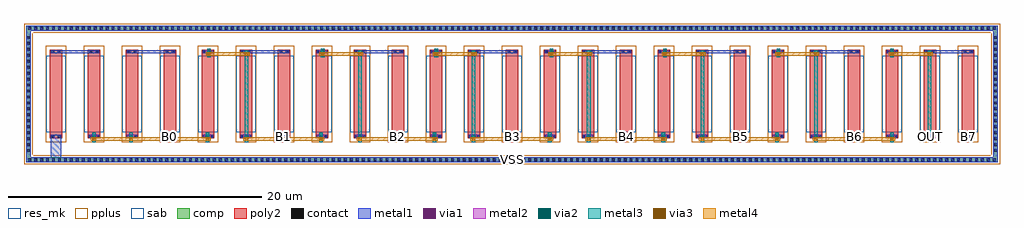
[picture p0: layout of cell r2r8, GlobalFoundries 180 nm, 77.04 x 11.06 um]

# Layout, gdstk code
import gdstk
lib = gdstk.Library(unit=1e-6, precision=1e-09)
def R(c, l, rs):  # rectangles x0, y0, x1, y1
    for r in rs: c.add(gdstk.rectangle(r[:2], r[2:], *l))
def A(c, l, x, y, w, h, nx, ny, dx, dy):  # array of equal rectangles
    R(c, l, [(x+i*dx, y+j*dy, x+i*dx+w, y+j*dy+h) for i in range(nx) for j in range(ny)])
comp = (22, 0)
poly2 = (30, 0)
pplus = (31, 0)
contact = (33, 0)
metal1 = (34, 0)
via1 = (35, 0)
metal2 = (36, 0)
via2 = (38, 0)
via3 = (40, 0)
metal3 = (42, 0)
metal4 = (46, 0)
sab = (49, 0)
res_mk = (110, 5)

r2r8 = lib.new_cell('r2r8')
R(r2r8, comp, [(-1.86,-2.37,74.86,-2.01), (-1.86,-2.01,-1.5,8.01), (74.5,-2.01,74.86,8.01), (-1.86,8.01,74.86,8.37)])
A(r2r8, poly2, 0, -0.51, 1, 7.02, 25, 1, 3, 0)
A(r2r8, pplus, -0.3, -0.81, 1.6, 7.62, 25, 1, 3, 0)
R(r2r8, pplus, [(-2.02,-2.53,75.02,-1.85), (-2.02,-2.17,-1.34,8.17), (74.34,-2.17,75.02,8.17), (-2.02,7.85,75.02,8.53)])
A(r2r8, contact, -1.68, -2.3, 0.22, 0.22, 163, 2, 0.47, 10.38)
A(r2r8, contact, -1.79, -1.575, 0.22, 0.22, 1, 20, 0, 0.47)
A(r2r8, contact, 74.57, -1.575, 0.22, 0.22, 1, 20, 0, 0.47)
R(r2r8, contact, [(0.155,-0.44,0.375,-0.22), (0.625,-0.44,0.845,-0.22), (3.155,-0.44,3.375,-0.22), (3.625,-0.44,3.845,-0.22), (6.155,-0.44,6.375,-0.22), (6.625,-0.44,6.845,-0.22), (9.155,-0.44,9.375,-0.22), (9.625,-0.44,9.845,-0.22), (12.155,-0.44,12.375,-0.22), (12.625,-0.44,12.845,-0.22), (15.155,-0.44,15.375,-0.22), (15.625,-0.44,15.845,-0.22), (18.155,-0.44,18.375,-0.22), (18.625,-0.44,18.845,-0.22), (21.155,-0.44,21.375,-0.22), (21.625,-0.44,21.845,-0.22), (24.155,-0.44,24.375,-0.22), (24.625,-0.44,24.845,-0.22), (27.155,-0.44,27.375,-0.22), (27.625,-0.44,27.845,-0.22), (30.155,-0.44,30.375,-0.22), (30.625,-0.44,30.845,-0.22), (33.155,-0.44,33.375,-0.22), (33.625,-0.44,33.845,-0.22), (36.155,-0.44,36.375,-0.22), (36.625,-0.44,36.845,-0.22), (39.155,-0.44,39.375,-0.22), (39.625,-0.44,39.845,-0.22), (42.155,-0.44,42.375,-0.22), (42.625,-0.44,42.845,-0.22), (45.155,-0.44,45.375,-0.22), (45.625,-0.44,45.845,-0.22), (48.155,-0.44,48.375,-0.22), (48.625,-0.44,48.845,-0.22), (51.155,-0.44,51.375,-0.22), (51.625,-0.44,51.845,-0.22), (54.155,-0.44,54.375,-0.22), (54.625,-0.44,54.845,-0.22), (57.155,-0.44,57.375,-0.22), (57.625,-0.44,57.845,-0.22), (60.155,-0.44,60.375,-0.22), (60.625,-0.44,60.845,-0.22), (63.155,-0.44,63.375,-0.22), (63.625,-0.44,63.845,-0.22), (66.155,-0.44,66.375,-0.22), (66.625,-0.44,66.845,-0.22), (69.155,-0.44,69.375,-0.22), (69.625,-0.44,69.845,-0.22), (72.155,-0.44,72.375,-0.22), (72.625,-0.44,72.845,-0.22), (0.155,6.22,0.375,6.44), (0.625,6.22,0.845,6.44), (3.155,6.22,3.375,6.44), (3.625,6.22,3.845,6.44), (6.155,6.22,6.375,6.44), (6.625,6.22,6.845,6.44), (9.155,6.22,9.375,6.44), (9.625,6.22,9.845,6.44), (12.155,6.22,12.375,6.44), (12.625,6.22,12.845,6.44), (15.155,6.22,15.375,6.44), (15.625,6.22,15.845,6.44), (18.155,6.22,18.375,6.44), (18.625,6.22,18.845,6.44), (21.155,6.22,21.375,6.44), (21.625,6.22,21.845,6.44), (24.155,6.22,24.375,6.44), (24.625,6.22,24.845,6.44), (27.155,6.22,27.375,6.44), (27.625,6.22,27.845,6.44), (30.155,6.22,30.375,6.44), (30.625,6.22,30.845,6.44), (33.155,6.22,33.375,6.44), (33.625,6.22,33.845,6.44), (36.155,6.22,36.375,6.44), (36.625,6.22,36.845,6.44), (39.155,6.22,39.375,6.44), (39.625,6.22,39.845,6.44), (42.155,6.22,42.375,6.44), (42.625,6.22,42.845,6.44), (45.155,6.22,45.375,6.44), (45.625,6.22,45.845,6.44), (48.155,6.22,48.375,6.44), (48.625,6.22,48.845,6.44), (51.155,6.22,51.375,6.44), (51.625,6.22,51.845,6.44), (54.155,6.22,54.375,6.44), (54.625,6.22,54.845,6.44), (57.155,6.22,57.375,6.44), (57.625,6.22,57.845,6.44), (60.155,6.22,60.375,6.44), (60.625,6.22,60.845,6.44), (63.155,6.22,63.375,6.44), (63.625,6.22,63.845,6.44), (66.155,6.22,66.375,6.44), (66.625,6.22,66.845,6.44), (69.155,6.22,69.375,6.44), (69.625,6.22,69.845,6.44), (72.155,6.22,72.375,6.44), (72.625,6.22,72.845,6.44)])
A(r2r8, metal1, 0.095, -0.445, 0.81, 0.23, 25, 2, 3, 6.66)
A(r2r8, metal1, 12.32, 6.2, 0.56, 0.26, 3, 1, 8.96, 0)
A(r2r8, metal1, 39.34, 6.2, 0.56, 0.26, 4, 1, 8.96, 0)
A(r2r8, metal1, 6.095, 6.215, 3.81, 0.23, 8, 1, 9, 0)
R(r2r8, metal1, [(-1.86,-2.37,74.86,-2.01), (0.095,-2.37,0.905,-0.445), (-1.86,-2.01,-1.5,8.01), (74.5,-2.01,74.86,8.01), (3.22,-0.46,3.78,-0.2), (6.16,-0.46,6.72,-0.2), (12.18,-0.46,12.74,-0.2), (15.26,-0.46,15.82,-0.2), (21.14,-0.46,21.7,-0.2), (24.22,-0.46,24.78,-0.2), (30.1,-0.46,30.66,-0.2), (33.18,-0.46,33.74,-0.2), (39.2,-0.46,39.76,-0.2), (42.28,-0.46,42.84,-0.2), (48.16,-0.46,48.72,-0.2), (51.24,-0.46,51.8,-0.2), (57.12,-0.46,57.68,-0.2), (60.2,-0.46,60.76,-0.2), (66.22,-0.46,66.78,-0.2), (69.16,-0.46,69.72,-0.2), (0.095,6.215,3.905,6.445), (-1.86,8.01,74.86,8.37)])
A(r2r8, via1, 12.47, 6.2, 0.26, 0.26, 3, 1, 8.96, 0)
A(r2r8, via1, 39.49, 6.2, 0.26, 0.26, 4, 1, 8.96, 0)
R(r2r8, via1, [(3.37,-0.46,3.63,-0.2), (6.31,-0.46,6.57,-0.2), (12.33,-0.46,12.59,-0.2), (15.41,-0.46,15.67,-0.2), (21.29,-0.46,21.55,-0.2), (24.37,-0.46,24.63,-0.2), (30.25,-0.46,30.51,-0.2), (33.33,-0.46,33.59,-0.2), (39.35,-0.46,39.61,-0.2), (42.43,-0.46,42.69,-0.2), (48.31,-0.46,48.57,-0.2), (51.39,-0.46,51.65,-0.2), (57.27,-0.46,57.53,-0.2), (60.35,-0.46,60.61,-0.2), (66.37,-0.46,66.63,-0.2), (69.31,-0.46,69.57,-0.2)])
A(r2r8, metal2, 12.34, 6.19, 0.52, 0.28, 3, 1, 8.96, 0)
A(r2r8, metal2, 39.36, 6.19, 0.52, 0.28, 4, 1, 8.96, 0)
R(r2r8, metal2, [(3.24,-0.47,3.76,-0.19), (6.18,-0.47,6.7,-0.19), (12.2,-0.47,12.72,-0.19), (15.28,-0.47,15.8,-0.19), (21.16,-0.47,21.68,-0.19), (24.24,-0.47,24.76,-0.19), (30.12,-0.47,30.64,-0.19), (33.2,-0.47,33.72,-0.19), (39.22,-0.47,39.74,-0.19), (42.3,-0.47,42.82,-0.19), (48.18,-0.47,48.7,-0.19), (51.26,-0.47,51.78,-0.19), (57.14,-0.47,57.66,-0.19), (60.22,-0.47,60.74,-0.19), (66.24,-0.47,66.76,-0.19), (69.18,-0.47,69.7,-0.19)])
A(r2r8, via2, 12.47, 6.2, 0.26, 0.26, 3, 1, 8.96, 0)
A(r2r8, via2, 39.49, 6.2, 0.26, 0.26, 4, 1, 8.96, 0)
R(r2r8, via2, [(3.37,-0.46,3.63,-0.2), (6.31,-0.46,6.57,-0.2), (12.33,-0.46,12.59,-0.2), (15.41,-0.46,15.67,-0.2), (21.29,-0.46,21.55,-0.2), (24.37,-0.46,24.63,-0.2), (30.25,-0.46,30.51,-0.2), (33.33,-0.46,33.59,-0.2), (39.35,-0.46,39.61,-0.2), (42.43,-0.46,42.69,-0.2), (48.31,-0.46,48.57,-0.2), (51.39,-0.46,51.65,-0.2), (57.27,-0.46,57.53,-0.2), (60.35,-0.46,60.61,-0.2), (66.37,-0.46,66.63,-0.2), (69.31,-0.46,69.57,-0.2)])
R(r2r8, via3, [(3.37,-0.69,3.63,-0.43), (6.31,-0.69,6.57,-0.43), (12.33,-0.69,12.59,-0.43), (15.41,-0.69,15.67,-0.43), (15.41,-0.69,15.67,-0.43), (21.29,-0.69,21.55,-0.43), (24.37,-0.69,24.63,-0.43), (24.37,-0.69,24.63,-0.43), (30.25,-0.69,30.51,-0.43), (33.33,-0.69,33.59,-0.43), (33.33,-0.69,33.59,-0.43), (39.35,-0.69,39.61,-0.43), (42.43,-0.69,42.69,-0.43), (42.43,-0.69,42.69,-0.43), (48.31,-0.69,48.57,-0.43), (51.39,-0.69,51.65,-0.43), (51.39,-0.69,51.65,-0.43), (57.27,-0.69,57.53,-0.43), (60.35,-0.69,60.61,-0.43), (60.35,-0.69,60.61,-0.43), (66.37,-0.69,66.63,-0.43), (69.31,-0.69,69.57,-0.43), (69.31,-0.69,69.57,-0.43), (12.47,6.03,12.73,6.29), (15.41,6.03,15.67,6.29), (21.43,6.03,21.69,6.29), (24.37,6.03,24.63,6.29), (30.39,6.03,30.65,6.29), (33.33,6.03,33.59,6.29), (39.49,6.03,39.75,6.29), (42.43,6.03,42.69,6.29), (48.45,6.03,48.71,6.29), (51.39,6.03,51.65,6.29), (57.41,6.03,57.67,6.29), (60.35,6.03,60.61,6.29), (66.37,6.03,66.63,6.29), (69.31,6.03,69.57,6.29)])
A(r2r8, metal3, 15.4, -0.56, 0.28, 6.72, 3, 1, 8.96, 0)
A(r2r8, metal3, 42.42, -0.56, 0.28, 6.72, 4, 1, 8.96, 0)
A(r2r8, metal3, 12.46, 6.07, 0.28, 0.52, 3, 1, 8.96, 0)
A(r2r8, metal3, 39.48, 6.07, 0.28, 0.52, 4, 1, 8.96, 0)
A(r2r8, metal3, 12.46, 6.16, 0.28, 0.17, 3, 1, 8.96, 0)
A(r2r8, metal3, 39.48, 6.16, 0.28, 0.17, 4, 1, 8.96, 0)
R(r2r8, metal3, [(3.36,-0.82,3.64,-0.3), (6.3,-0.82,6.58,-0.3), (12.32,-0.82,12.6,-0.3), (15.4,-0.82,15.68,-0.3), (15.4,-0.82,15.68,-0.3), (21.28,-0.82,21.56,-0.3), (24.36,-0.82,24.64,-0.3), (24.36,-0.82,24.64,-0.3), (30.24,-0.82,30.52,-0.3), (33.32,-0.82,33.6,-0.3), (33.32,-0.82,33.6,-0.3), (39.34,-0.82,39.62,-0.3), (42.42,-0.82,42.7,-0.3), (42.42,-0.82,42.7,-0.3), (48.3,-0.82,48.58,-0.3), (51.38,-0.82,51.66,-0.3), (51.38,-0.82,51.66,-0.3), (57.26,-0.82,57.54,-0.3), (60.34,-0.82,60.62,-0.3), (60.34,-0.82,60.62,-0.3), (66.36,-0.82,66.64,-0.3), (69.3,-0.82,69.58,-0.3), (69.3,-0.82,69.58,-0.3), (3.36,-0.59,3.64,-0.07), (6.3,-0.59,6.58,-0.07), (12.32,-0.59,12.6,-0.07), (15.4,-0.59,15.68,-0.07), (21.28,-0.59,21.56,-0.07), (24.36,-0.59,24.64,-0.07), (30.24,-0.59,30.52,-0.07), (33.32,-0.59,33.6,-0.07), (39.34,-0.59,39.62,-0.07), (42.42,-0.59,42.7,-0.07), (48.3,-0.59,48.58,-0.07), (51.38,-0.59,51.66,-0.07), (57.26,-0.59,57.54,-0.07), (60.34,-0.59,60.62,-0.07), (66.36,-0.59,66.64,-0.07), (69.3,-0.59,69.58,-0.07), (3.36,-0.56,3.64,-0.33), (6.3,-0.56,6.58,-0.33), (12.32,-0.56,12.6,-0.33), (15.4,-0.56,15.68,-0.33), (21.28,-0.56,21.56,-0.33), (24.36,-0.56,24.64,-0.33), (30.24,-0.56,30.52,-0.33), (33.32,-0.56,33.6,-0.33), (39.34,-0.56,39.62,-0.33), (42.42,-0.56,42.7,-0.33), (48.3,-0.56,48.58,-0.33), (51.38,-0.56,51.66,-0.33), (57.26,-0.56,57.54,-0.33), (60.34,-0.56,60.62,-0.33), (66.36,-0.56,66.64,-0.33), (69.3,-0.56,69.58,-0.33), (12.46,5.9,12.74,6.42), (15.4,5.9,15.68,6.42), (21.42,5.9,21.7,6.42), (24.36,5.9,24.64,6.42), (30.38,5.9,30.66,6.42), (33.32,5.9,33.6,6.42), (39.48,5.9,39.76,6.42), (42.42,5.9,42.7,6.42), (48.44,5.9,48.72,6.42), (51.38,5.9,51.66,6.42), (57.4,5.9,57.68,6.42), (60.34,5.9,60.62,6.42), (66.36,5.9,66.64,6.42), (69.3,5.9,69.58,6.42)])
A(r2r8, metal4, 12.6, 6.02, 2.94, 0.28, 3, 1, 8.96, 0)
A(r2r8, metal4, 39.62, 6.02, 2.94, 0.28, 4, 1, 8.96, 0)
R(r2r8, metal4, [(3.24,-0.7,3.76,-0.42), (3.5,-0.7,12.46,-0.42), (6.18,-0.7,6.7,-0.42), (12.2,-0.7,12.72,-0.42), (15.28,-0.7,15.8,-0.42), (15.28,-0.7,15.8,-0.42), (15.54,-0.7,21.42,-0.42), (21.16,-0.7,21.68,-0.42), (24.24,-0.7,24.76,-0.42), (24.24,-0.7,24.76,-0.42), (24.5,-0.7,30.38,-0.42), (30.12,-0.7,30.64,-0.42), (33.2,-0.7,33.72,-0.42), (33.2,-0.7,33.72,-0.42), (33.46,-0.7,39.48,-0.42), (39.22,-0.7,39.74,-0.42), (42.3,-0.7,42.82,-0.42), (42.3,-0.7,42.82,-0.42), (42.56,-0.7,48.44,-0.42), (48.18,-0.7,48.7,-0.42), (51.26,-0.7,51.78,-0.42), (51.26,-0.7,51.78,-0.42), (51.52,-0.7,57.4,-0.42), (57.14,-0.7,57.66,-0.42), (60.22,-0.7,60.74,-0.42), (60.22,-0.7,60.74,-0.42), (60.48,-0.7,66.5,-0.42), (66.24,-0.7,66.76,-0.42), (69.18,-0.7,69.7,-0.42), (69.18,-0.7,69.7,-0.42), (12.34,6.02,12.86,6.3), (15.28,6.02,15.8,6.3), (21.3,6.02,21.82,6.3), (24.24,6.02,24.76,6.3), (30.26,6.02,30.78,6.3), (33.2,6.02,33.72,6.3), (39.36,6.02,39.88,6.3), (42.3,6.02,42.82,6.3), (48.32,6.02,48.84,6.3), (51.26,6.02,51.78,6.3), (57.28,6.02,57.8,6.3), (60.22,6.02,60.74,6.3), (66.24,6.02,66.76,6.3), (69.18,6.02,69.7,6.3)])
A(r2r8, sab, -0.28, 0, 1.56, 6, 25, 1, 3, 0)
A(r2r8, res_mk, 0, 0, 1, 6, 25, 1, 3, 0)
r2r8.add(gdstk.Label('B0', (9.5,-0.33), layer=34, texttype=10))
r2r8.add(gdstk.Label('B1', (18.5,-0.33), layer=34, texttype=10))
r2r8.add(gdstk.Label('B2', (27.5,-0.33), layer=34, texttype=10))
r2r8.add(gdstk.Label('B3', (36.5,-0.33), layer=34, texttype=10))
r2r8.add(gdstk.Label('B4', (45.5,-0.33), layer=34, texttype=10))
r2r8.add(gdstk.Label('B5', (54.5,-0.33), layer=34, texttype=10))
r2r8.add(gdstk.Label('B6', (63.5,-0.33), layer=34, texttype=10))
r2r8.add(gdstk.Label('B7', (72.5,-0.33), layer=34, texttype=10))
r2r8.add(gdstk.Label('OUT', (69.5,-0.33), layer=34, texttype=10))
r2r8.add(gdstk.Label('VSS', (36.5,-2.19), layer=34, texttype=10))

lib.write_gds('r2r8.gds')
